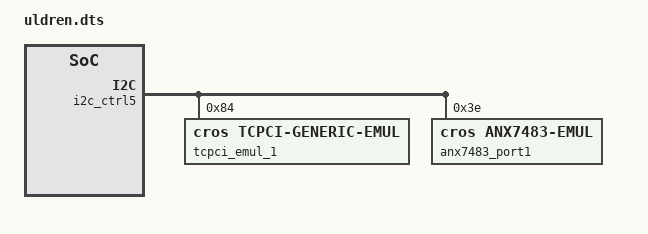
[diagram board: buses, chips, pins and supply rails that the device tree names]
/* Copyright 2023 The ChromiumOS Authors
 * Use of this source code is governed by a BSD-style license that can be
 * found in the LICENSE file.
 */

#include "generic_npcx.dts"
#include <dt-bindings/pwm/pwm.h>
#include "../program/nissa/uldren/cbi.dtsi"
#include "../program/nissa/uldren/motionsense.dtsi"

/ {
    aliases {
		gpio-usb-c1-int-odl = &gpio_sb_1;
		gpio-en-rails-odl = &gpio_sb_1;
		gpio-en-sub-s5-rails = &gpio_sb_2;
    };
	gpio-interrupts {
		compatible = "cros-ec,gpio-interrupts";

		int_imu: ec_imu {
			irq-pin = <&gpio_imu_int_l>;
			flags = <GPIO_INT_EDGE_FALLING>;
			handler = "motion_interrupt";
		};
		int_lid_imu: lid_imu {
			irq-pin = <&gpio_acc_int_l>;
			flags = <GPIO_INT_EDGE_FALLING>;
			handler = "lid_accel_interrupt";
		};
		int_tablet_mode: tablet_mode {
			irq-pin = <&gpio_tablet_mode_l>;
			flags = <GPIO_INT_EDGE_BOTH>;
			handler = "gmr_tablet_switch_isr";
		};
	};
    named-gpios {
		compatible = "named-gpios";

		/delete-node/ hdmi_sel;

		gpio_subboard_detect_l: subboard_detect_l {
			gpios = <&gpioc 6 GPIO_INPUT_PULL_UP>;
		};
		gpio_sb_2: sb-2 {
			gpios = <&gpiod 4 GPIO_OUTPUT>;
			no-auto-init;
		};
		gpio_imu_int_l: imu_int_l {
			gpios = <&gpio5 6 GPIO_INPUT>;
		};
		gpio_acc_int_l: acc_int_l {
			gpios = <&gpio5 0 GPIO_INPUT>;
		};
		gpio_tablet_mode_l: tablet_mode_l {
			gpios = <&gpio9 5 GPIO_INPUT>;
			enum-name = "GPIO_TABLET_MODE_L";
		};
    };
    usbc {
		#address-cells = <1>;
		#size-cells = <0>;

		port1@1 {
			compatible = "named-usbc-port";
			reg = <1>;
			tcpc = <&tcpci_emul_1>;
			usb-mux-chain-1 {
				compatible = "cros-ec,usb-mux-chain";
				usb-muxes = <&virtual_mux_1 &anx7483_port1>;
			};
		};
		port1-muxes {
			virtual_mux_1: virtual-mux-1 {
				compatible = "cros-ec,usbc-mux-virtual";
			};
		};
	};
	named-i2c-ports {
		i2c_ec_i2c_sensor: ec_i2c_sensor {
			i2c-port = <&i2c_ctrl1>;
			enum-names = "I2C_PORT_SENSOR";
		};
	};
};
&i2c_ctrl5 {
    tcpci_emul_1: tcpci_emul@84 {
		compatible = "cros,tcpci-generic-emul";
		status = "okay";
		reg = <0x84>;
	};
	anx7483_port1: anx7483_emul1@3e {
		compatible = "cros,anx7483-emul", "analogix,anx7483";
		reg = <0x3e>;
		board-set = "board_anx7483_c1_mux_set";
	};
};
